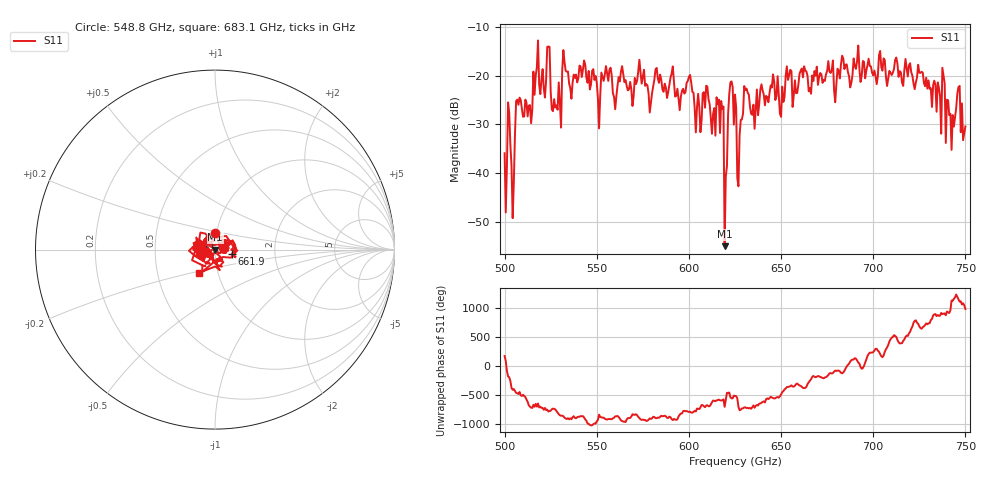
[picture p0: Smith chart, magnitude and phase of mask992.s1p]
!Created with skrf (http://scikit-rf.org).
# GHz S MA R 50.0
!freq magS11 angS11
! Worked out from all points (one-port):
!   401 points, 500 GHz to 750 GHz, reference 50 ohm
!   lowest |S11| = -55.0 dB at 619.4 GHz (marker M1), VSWR 1.00, Z = 50.2 + j0.0488 ohm
!   |S11| at or under -10 dB: start of sweep to end of sweep
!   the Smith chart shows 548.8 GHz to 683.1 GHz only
!   S11 on the Smith chart (normalised r, x): 548.8 GHz: 0.99, +0.18; 661.9 GHz: 1.20, -0.06; 683.1 GHz: 0.81, -0.22
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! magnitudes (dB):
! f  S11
! 500 GHz  -35.9
! 502.5 GHz  -27.6
! 504.4 GHz  -49.2
! 507.5 GHz  -26.0
! 513.8 GHz  -26.0
! 516.9 GHz  -20.0
! 523.8 GHz  -14.1
! 526.9 GHz  -24.8
! 531.2 GHz  -19.0
! 548.8 GHz  -20.9
! 562.5 GHz  -21.2
! 593.8 GHz  -22.7
! 617.5 GHz  -25.2
! 619.4 GHz  -55.0
! 620.6 GHz  -38.6
! 622.5 GHz  -21.4
! 625 GHz  -23.9
! 627.5 GHz  -32.2
! 631.2 GHz  -22.7
! 635 GHz  -25.9
! 656.2 GHz  -26.4
! 661.9 GHz  -20.4
! 683.1 GHz  -15.9
! 687.5 GHz  -22.4
! 718.8 GHz  -20.2
! 742.5 GHz  -35.2
! 746.9 GHz  -22.1
! 750 GHz  -30.4
